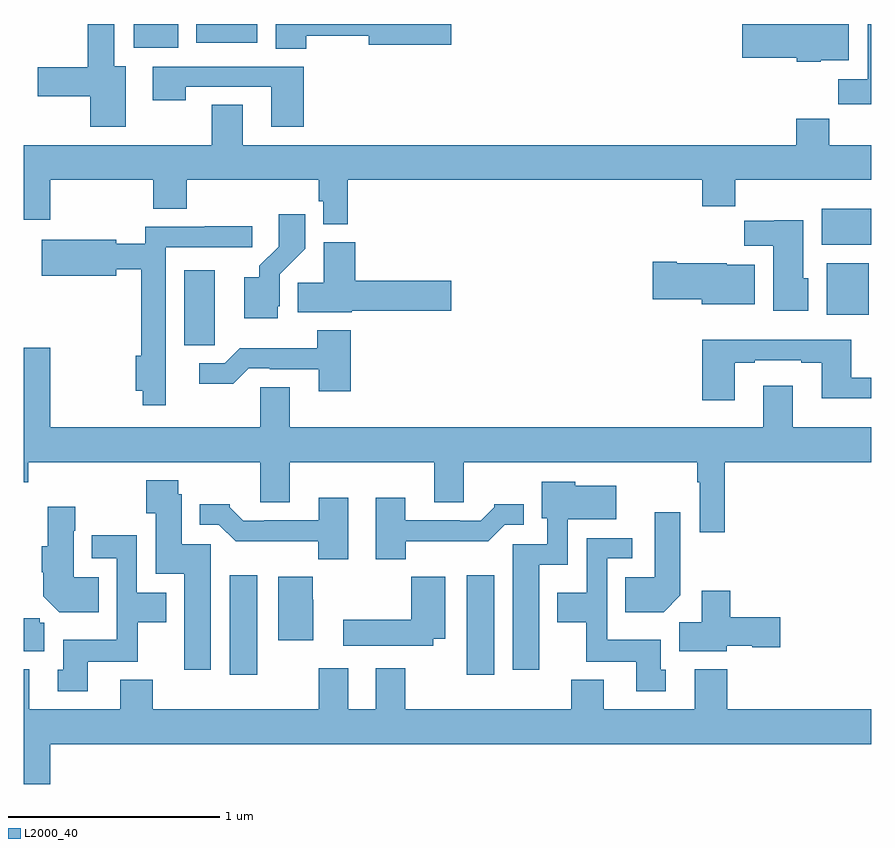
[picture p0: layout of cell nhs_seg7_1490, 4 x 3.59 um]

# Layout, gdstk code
import gdstk
lib = gdstk.Library(unit=1e-6, precision=1e-09)
def R(c, l, rs):  # rectangles x0, y0, x1, y1
    for r in rs: c.add(gdstk.rectangle(r[:2], r[2:], *l))
def P(c, l, *ps):  # polygons
    for p in ps: c.add(gdstk.Polygon(p, *l))
L2000_40 = (2000, 40)

nhs_seg7_1490 = lib.new_cell('nhs_seg7_1490')
R(nhs_seg7_1490, L2000_40, [(213.971,1016.928,214.102,1017.397), (215.09,1016.928,215.221,1017.397), (216.791,1018.628,216.988,1018.87), (216.767,1018.958,217,1019.128), (213.518,1019.888,213.73,1020), (213.815,1019.912,214.102,1020)])
P(nhs_seg7_1490, L2000_40, [(214.332,1019.944),(214.628,1019.944),(214.628,1019.902),(215.017,1019.902),(215.017,1020),(214.19,1020),(214.19,1019.884),(214.332,1019.884)],
  [(216.762,1019.828),(216.895,1019.828),(216.895,1020),(216.392,1020),(216.392,1019.84),(216.648,1019.84),(216.648,1019.822),(216.762,1019.822)],
  [(217,1020),(216.983,1020),(216.983,1019.74),(216.844,1019.74),(216.844,1019.622),(217,1019.622)],
  [(213.481,1019.8),(213.427,1019.8),(213.427,1020),(213.302,1020),(213.302,1019.795),(213.066,1019.795),(213.066,1019.66),(213.314,1019.66),(213.314,1019.514),(213.481,1019.514)],
  [(214.322,1019.799),(213.609,1019.799),(213.609,1019.64),(213.765,1019.64),(213.765,1019.703),(214.169,1019.703),(214.169,1019.514),(214.322,1019.514)],
  [(214.529,1019.264),(216.203,1019.264),(216.203,1019.14),(216.359,1019.14),(216.359,1019.264),(217,1019.264),(217,1019.428),(216.803,1019.428),(216.803,1019.552),(216.647,1019.552),(216.647,1019.428),(214.033,1019.428),(214.033,1019.618),(213.886,1019.618),(213.886,1019.428),(213,1019.428),(213,1019.076),(213.124,1019.076),(213.124,1019.264),(213.61,1019.264),(213.61,1019.128),(213.77,1019.128),(213.77,1019.264),(214.393,1019.264),(214.393,1019.163),(214.413,1019.163),(214.413,1019.054),(214.529,1019.054)],
  [(214.198,1018.668),(214.209,1018.668),(214.209,1018.819),(214.328,1018.938),(214.328,1019.101),(214.203,1019.101),(214.203,1018.949),(214.112,1018.859),(214.112,1018.804),(214.04,1018.804),(214.04,1018.611),(214.198,1018.611)],
  [(216.703,1018.8),(216.679,1018.8),(216.679,1019.074),(216.543,1019.074),(216.543,1019.07),(216.4,1019.07),(216.4,1018.952),(216.539,1018.952),(216.539,1018.646),(216.703,1018.646)],
  [(213.67,1018.422),(213.669,1018.422),(213.669,1018.947),(214.078,1018.947),(214.078,1019.046),(213.853,1019.046),(213.853,1019.043),(213.572,1019.043),(213.572,1018.963),(213.436,1018.963),(213.436,1018.981),(213.084,1018.981),(213.084,1018.811),(213.436,1018.811),(213.436,1018.842),(213.553,1018.842),(213.553,1018.434),(213.529,1018.434),(213.529,1018.268),(213.561,1018.268),(213.561,1018.2),(213.67,1018.2)],
  [(214.548,1018.646),(215.017,1018.646),(215.017,1018.788),(214.565,1018.788),(214.565,1018.969),(214.415,1018.969),(214.415,1018.778),(214.294,1018.778),(214.294,1018.64),(214.548,1018.64)],
  [(216.451,1018.864),(216.318,1018.864),(216.318,1018.87),(216.082,1018.87),(216.082,1018.878),(215.97,1018.878),(215.97,1018.7),(216.2,1018.7),(216.2,1018.676),(216.451,1018.676)],
  [(213.9,1018.594),(213.901,1018.594),(213.901,1018.837),(213.758,1018.837),(213.758,1018.483),(213.9,1018.483)],
  [(214.544,1018.555),(214.384,1018.555),(214.384,1018.469),(214.019,1018.469),(213.948,1018.398),(213.828,1018.398),(213.828,1018.301),(213.989,1018.301),(214.062,1018.374),(214.162,1018.374),(214.162,1018.371),(214.391,1018.371),(214.391,1018.266),(214.544,1018.266)],
  [(216.355,1018.401),(216.451,1018.401),(216.451,1018.413),(216.671,1018.413),(216.671,1018.401),(216.767,1018.401),(216.767,1018.232),(217,1018.232),(217,1018.329),(216.907,1018.329),(216.907,1018.51),(216.203,1018.51),(216.203,1018.224),(216.355,1018.224)],
  [(217,1018.096),(216.631,1018.096),(216.631,1018.291),(216.491,1018.291),(216.491,1018.096),(214.255,1018.096),(214.255,1018.286),(214.116,1018.286),(214.116,1018.096),(213.124,1018.096),(213.124,1018.471),(213,1018.471),(213,1017.836),(213.02,1017.836),(213.02,1017.932),(214.115,1017.932),(214.115,1017.742),(214.255,1017.742),(214.255,1017.932),(214.937,1017.932),(214.937,1017.742),(215.077,1017.742),(215.077,1017.932),(216.18,1017.932),(216.18,1017.836),(216.192,1017.836),(216.192,1017.6),(216.308,1017.6),(216.308,1017.932),(217,1017.932)],
  [(213.883,1017.543),(213.745,1017.543),(213.745,1017.78),(213.729,1017.78),(213.729,1017.847),(213.577,1017.847),(213.577,1017.691),(213.623,1017.691),(213.623,1017.404),(213.758,1017.404),(213.758,1016.952),(213.883,1016.952)],
  [(215.434,1017.446),(215.568,1017.446),(215.568,1017.662),(215.797,1017.662),(215.797,1017.82),(215.604,1017.82),(215.604,1017.838),(215.444,1017.838),(215.444,1017.666),(215.472,1017.666),(215.472,1017.543),(215.309,1017.543),(215.309,1016.952),(215.434,1016.952)],
  [(214.531,1017.763),(214.391,1017.763),(214.391,1017.657),(214.135,1017.657),(214.135,1017.654),(214.036,1017.654),(213.972,1017.718),(213.972,1017.733),(213.83,1017.733),(213.83,1017.636),(213.921,1017.636),(214,1017.558),(214.389,1017.558),(214.389,1017.473),(214.531,1017.473)],
  [(214.804,1017.558),(215.193,1017.558),(215.271,1017.636),(215.359,1017.636),(215.359,1017.733),(215.22,1017.733),(215.22,1017.718),(215.156,1017.654),(215.057,1017.654),(215.057,1017.657),(214.801,1017.657),(214.801,1017.763),(214.661,1017.763),(214.661,1017.473),(214.804,1017.473)],
  [(213.353,1017.388),(213.235,1017.388),(213.235,1017.608),(213.243,1017.608),(213.243,1017.721),(213.113,1017.721),(213.113,1017.534),(213.085,1017.534),(213.085,1017.412),(213.092,1017.412),(213.092,1017.298),(213.166,1017.224),(213.353,1017.224)],
  [(216.1,1017.302),(216.1,1017.694),(215.978,1017.694),(215.978,1017.388),(215.839,1017.388),(215.839,1017.224),(216.022,1017.224)],
  [(213.301,1016.99),(213.537,1016.99),(213.537,1017.176),(213.673,1017.176),(213.673,1017.316),(213.534,1017.316),(213.534,1017.586),(213.321,1017.586),(213.321,1017.477),(213.438,1017.477),(213.438,1017.094),(213.185,1017.094),(213.185,1016.952),(213.161,1016.952),(213.161,1016.85),(213.301,1016.85)],
  [(216.031,1016.952),(216.007,1016.952),(216.007,1017.094),(215.754,1017.094),(215.754,1017.477),(215.872,1017.477),(215.872,1017.573),(215.658,1017.573),(215.658,1017.316),(215.519,1017.316),(215.519,1017.176),(215.656,1017.176),(215.656,1016.99),(215.891,1016.99),(215.891,1016.85),(216.031,1016.85)],
  [(214.366,1017.283),(214.364,1017.283),(214.364,1017.391),(214.202,1017.391),(214.202,1017.09),(214.366,1017.09)],
  [(214.932,1017.098),(214.99,1017.098),(214.99,1017.391),(214.828,1017.391),(214.828,1017.187),(214.509,1017.187),(214.509,1017.065),(214.932,1017.065)],
  [(216.318,1017.065),(216.438,1017.065),(216.438,1017.058),(216.571,1017.058),(216.571,1017.2),(216.335,1017.2),(216.335,1017.325),(216.2,1017.325),(216.2,1017.176),(216.095,1017.176),(216.095,1017.038),(216.318,1017.038)],
  [(213.096,1017.174),(213.075,1017.174),(213.075,1017.194),(213,1017.194),(213,1017.038),(213.096,1017.038)],
  [(213.124,1016.6),(217,1016.6),(217,1016.764),(216.32,1016.764),(216.32,1016.953),(216.167,1016.953),(216.167,1016.764),(215.737,1016.764),(215.737,1016.905),(215.585,1016.905),(215.585,1016.764),(214.801,1016.764),(214.801,1016.959),(214.661,1016.959),(214.661,1016.764),(214.531,1016.764),(214.531,1016.959),(214.391,1016.959),(214.391,1016.764),(213.608,1016.764),(213.608,1016.905),(213.455,1016.905),(213.455,1016.764),(213.025,1016.764),(213.025,1016.953),(213,1016.953),(213,1016.412),(213.124,1016.412)])

lib.write_gds('nhs_seg7_1490.gds')
